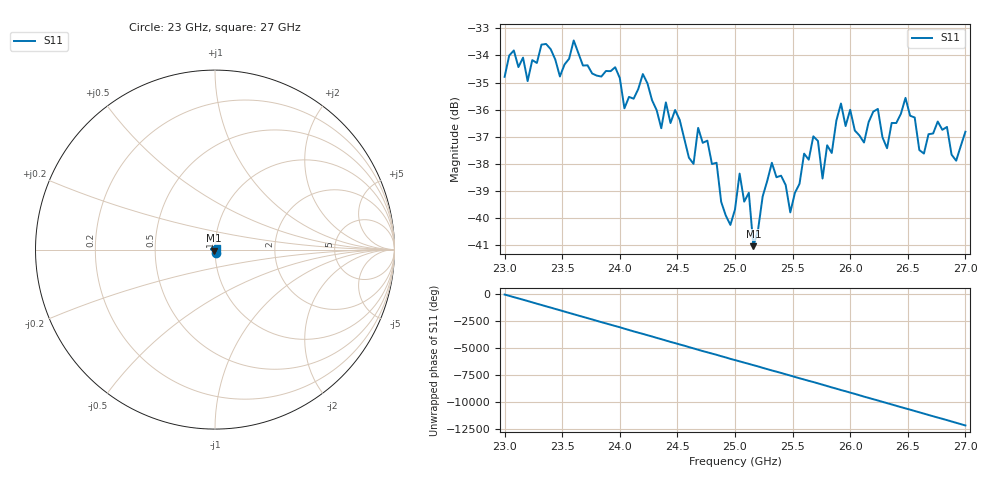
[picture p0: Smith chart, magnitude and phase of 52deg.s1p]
#  HZ  S  RI  R  50.00
! Rohde & Schwarz ZVA40 4Ports - Version 3.90 - 1145.1110k42 SN: 100403
! Date: 2023-09-26 10:41:19
! Measurement: S12
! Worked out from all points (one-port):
!   101 points, 23 GHz to 27 GHz, reference 50 ohm
!   lowest |S11| = -41.0 dB at 25.16 GHz (marker M1), VSWR 1.02, Z = 49.4 - j0.602 ohm
!   |S11| at or under -10 dB: start of sweep to end of sweep
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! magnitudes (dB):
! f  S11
! 23 GHz  -34.8
! 23.32 GHz  -33.6
! 23.52 GHz  -34.3
! 23.6 GHz  -33.4
! 24 GHz  -34.8
! 24.04 GHz  -35.9
! 24.2 GHz  -34.7
! 24.36 GHz  -36.7
! 24.52 GHz  -36.4
! 25 GHz  -39.7
! 25.04 GHz  -38.4
! 25.12 GHz  -39.1
! 25.16 GHz  -41.0
! 25.32 GHz  -38.0
! 25.48 GHz  -39.8
! 25.52 GHz  -39.1
! 25.68 GHz  -37.0
! 25.76 GHz  -38.5
! 25.92 GHz  -35.8
! 26 GHz  -36.0
! 26.12 GHz  -37.2
! 26.24 GHz  -36.0
! 26.32 GHz  -37.4
! 26.52 GHz  -36.2
! 26.64 GHz  -37.6
! 26.76 GHz  -36.4
! 26.92 GHz  -37.9
! 27 GHz  -36.8
